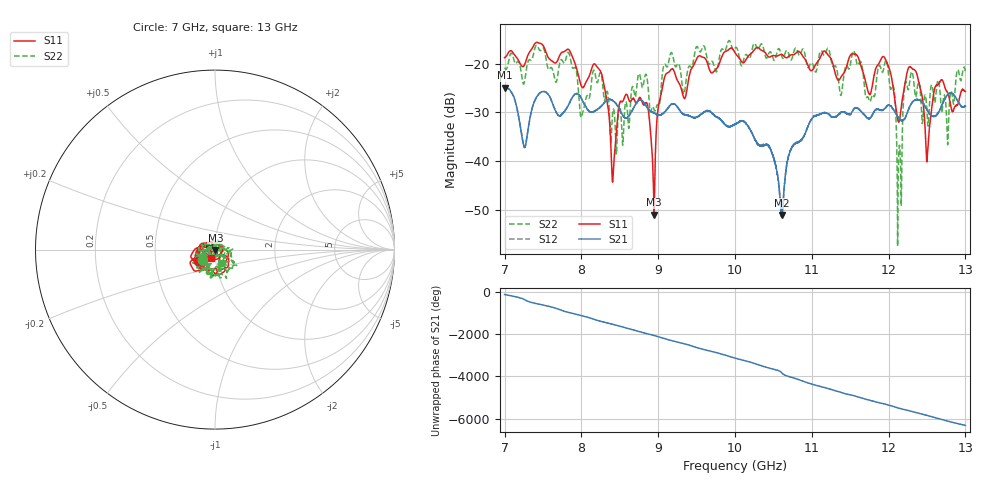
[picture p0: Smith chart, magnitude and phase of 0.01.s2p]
[Version] 2.0
! Rohde & Schwarz Vector Network Analyzer
! Rohde-Schwarz,ZNL20-2Port,1323001220200009,1.71.1.10-23.02.1.238
! Port Assignments:
! Nominal Port -> Actual Test Port
!  1 -> 1
!  2 -> 2
! Created: GMT+3 2024-09-24 13:06:52
# Hz S DB R 50
[Number of Ports] 2
[Two-Port Data Order] 21_12
! freq[Hz]  S11[mag dB]  S11[ang]  S21[mag dB]  S21[ang]  S12[mag dB]  S12[ang]  S22[mag dB]  S22[ang]
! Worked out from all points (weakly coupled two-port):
!   6001 points, 7 GHz to 13 GHz, reference 50 ohm
!   highest |S21| = -24.92 dB at 7 GHz (marker M1); lowest = -51.0 dB at 10.61 GHz (marker M2)
!   lowest |S11| = -50.9 dB at 8.947 GHz (marker M3), VSWR 1.01, Z = 50.2 - j0.206 ohm
!   |S11| at or under -10 dB: start of sweep to end of sweep
!   |S22| runs from -57.4 to -15.3 dB; largest |S21 - S12| = 0.00071
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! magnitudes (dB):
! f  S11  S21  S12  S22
! 7 GHz  -18.8  -24.9  -24.9  -20.8
! 7.258 GHz  -20.3  -37.1  -37.1  -23.8
! 7.458 GHz  -15.9  -26.0  -26.0  -17.3
! 7.831 GHz  -17.1  -28.5  -28.5  -17.7
! 8 GHz  -24.6  -27.1  -27.1  -30.9
! 8.252 GHz  -21.6  -28.8  -28.8  -21.9
! 8.412 GHz  -43.2  -27.6  -27.6  -29.5
! 8.512 GHz  -27.7  -29.9  -29.9  -29.9
! 8.842 GHz  -28.0  -28.6  -28.6  -22.2
! 8.947 GHz  -50.9  -30.1  -30.1  -29.5
! 9 GHz  -29.0  -30.5  -30.5  -28.5
! 9.167 GHz  -21.2  -28.4  -28.4  -17.8
! 10 GHz  -17.8  -32.4  -32.4  -16.9
! 10.61 GHz  -18.2  -51.0  -51.2  -18.6
! 11 GHz  -21.4  -31.3  -31.2  -19.8
! 12 GHz  -20.6  -28.5  -28.5  -22.2
! 12.14 GHz  -31.6  -31.3  -31.2  -36.8
! 12.21 GHz  -24.2  -31.2  -31.2  -24.1
! 12.29 GHz  -20.8  -28.2  -28.2  -21.8
! 12.5 GHz  -39.3  -29.5  -29.5  -30.7
! 12.63 GHz  -24.4  -30.5  -30.4  -24.7
! 13 GHz  -25.7  -28.7  -28.7  -21.7
